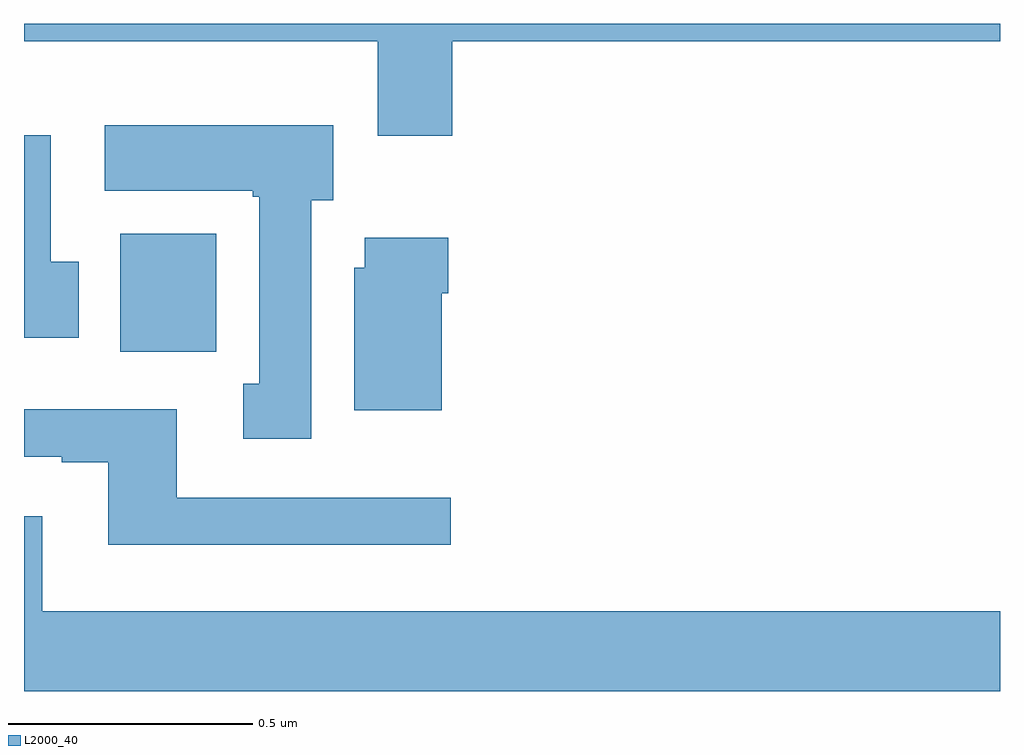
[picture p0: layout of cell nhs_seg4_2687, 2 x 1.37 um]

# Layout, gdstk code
import gdstk
lib = gdstk.Library(unit=1e-6, precision=1e-09)
def R(c, l, rs):  # rectangles x0, y0, x1, y1
    for r in rs: c.add(gdstk.rectangle(r[:2], r[2:], *l))
def P(c, l, *ps):  # polygons
    for p in ps: c.add(gdstk.Polygon(p, *l))
L2000_40 = (2000, 40)

nhs_seg4_2687 = lib.new_cell('nhs_seg4_2687')
R(nhs_seg4_2687, L2000_40, [(144.197,752.228,144.394,752.47)])
P(nhs_seg4_2687, L2000_40, [(144.878,752.864),(146,752.864),(146,752.9),(144,752.9),(144,752.864),(144.725,752.864),(144.725,752.67),(144.878,752.67)],
  [(144.589,752.538),(144.634,752.538),(144.634,752.692),(144.165,752.692),(144.165,752.558),(144.469,752.558),(144.469,752.545),(144.482,752.545),(144.482,752.162),(144.449,752.162),(144.449,752.049),(144.589,752.049)],
  [(144.112,752.412),(144.055,752.412),(144.055,752.671),(144,752.671),(144,752.256),(144.112,752.256)],
  [(144.856,752.348),(144.869,752.348),(144.869,752.461),(144.698,752.461),(144.698,752.4),(144.677,752.4),(144.677,752.108),(144.856,752.108)],
  [(144.874,751.929),(144.313,751.929),(144.313,752.11),(144,752.11),(144,752.013),(144.077,752.013),(144.077,752.001),(144.173,752.001),(144.173,751.832),(144.874,751.832)],
  [(146,751.696),(144.037,751.696),(144.037,751.891),(144,751.891),(144,751.532),(146,751.532)])

lib.write_gds('nhs_seg4_2687.gds')
